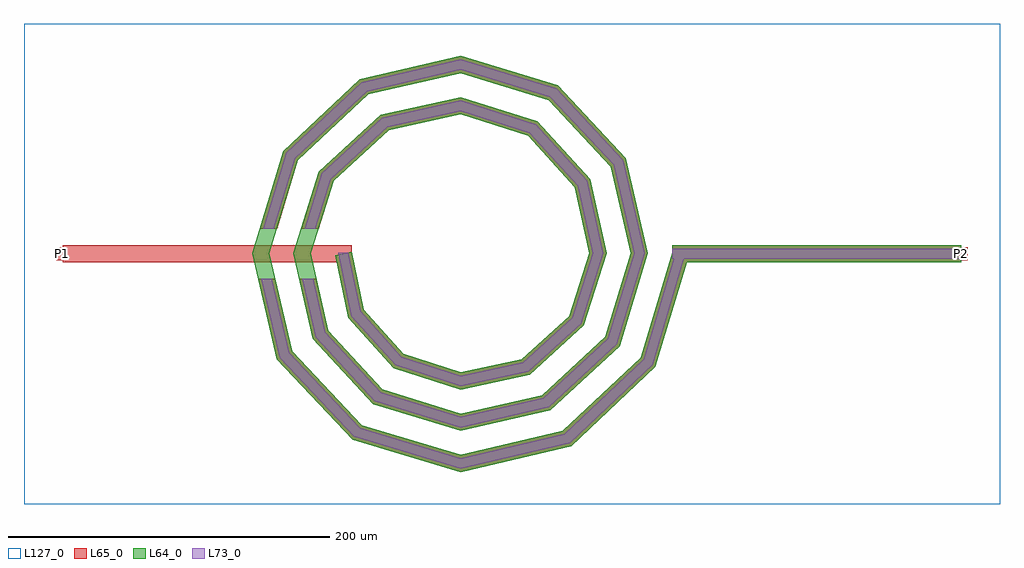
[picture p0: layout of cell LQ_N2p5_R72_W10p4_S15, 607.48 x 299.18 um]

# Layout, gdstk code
import gdstk
lib = gdstk.Library(unit=1e-6, precision=1e-09)
def R(c, l, rs):  # rectangles x0, y0, x1, y1
    for r in rs: c.add(gdstk.rectangle(r[:2], r[2:], *l))
def P(c, l, *ps):  # polygons
    for p in ps: c.add(gdstk.Polygon(p, *l))
L64_0 = (64, 0)
L65_0 = (65, 0)
L73_0 = (73, 0)
L127_0 = (127, 0)

lq_n2p5_r72_w10p4_s15 = lib.new_cell('LQ_N2p5_R72_W10p4_S15')
R(lq_n2p5_r72_w10p4_s15, L64_0, [(131.856,-5.2,311.856,5.2)])
P(lq_n2p5_r72_w10p4_s15, L64_0, [(-60.124,-35.044),(-35.625,-62.261),(0.271,-73.872),(38.235,-65.697),(67.812,-38.854),(80.294,0.251),(71.269,41.43),(42.081,73.364),(0.233,86.717),(-44.626,76.839),(-78.918,45.306),(-93.139,0.218),(-82.408,-47.825),(-48.529,-84.473),(0.205,-99.562),(51.025,-87.977),(90.029,-51.751),(105.984,0.193),(93.544,54.227),(54.972,95.586),(0.183,112.407),(-57.429,99.111),(-101.143,58.192),(-118.829,0.173),(-104.678,-60.632),(-61.411,-106.701),(0.165,-125.252),(63.837,-110.245),(112.259,-64.629),(132.075,1.493),(142.037,-1.493),(121.421,-70.286),(68.938,-119.727),(0.165,-136.015),(-67.082,-115.854),(-114.169,-65.719),(-129.591,0.173),(-110.287,63.878),(-62.499,108.611),(0.183,123.168),(60.675,104.72),(103.053,59.279),(116.745,0.193),(99.152,-57.472),(56.058,-97.496),(0.205,-110.322),(-54.271,-93.583),(-91.94,-52.835),(-103.898,0.218),(-88.013,51.072),(-49.611,86.384),(0.233,97.475),(47.874,82.442),(80.829,46.384),(91.051,0.251),(76.87,-44.678),(43.156,-75.276),(0.271,-84.627),(-41.484,-71.296),(-69.724,-39.924),(-77.915,-1.073),(-67.739,1.073)])
R(lq_n2p5_r72_w10p4_s15, L65_0, [(-247.627,-5.2,-67.627,5.2), (131.856,-5.2,311.856,5.2), (-251.627,-4,-243.627,4), (307.856,-4,315.856,4)])
P(lq_n2p5_r72_w10p4_s15, L65_0, [(-104.678,-60.633),(-61.411,-106.701),(0.165,-125.252),(63.837,-110.245),(112.259,-64.629),(132.075,1.493),(142.037,-1.493),(121.421,-70.286),(68.938,-119.727),(0.165,-136.015),(-67.082,-115.854),(-114.169,-65.719),(-125.9,-15.6),(-115.219,-15.6)],
  [(-82.408,-47.825),(-48.529,-84.473),(0.205,-99.562),(51.025,-87.977),(90.029,-51.751),(105.984,0.193),(93.544,54.227),(54.972,95.586),(0.183,112.407),(-57.429,99.112),(-101.143,58.192),(-114.05,15.6),(-124.917,15.6),(-110.287,63.878),(-62.499,108.611),(0.183,123.168),(60.675,104.72),(103.053,59.279),(116.745,0.193),(99.152,-57.472),(56.058,-97.496),(0.205,-110.322),(-54.271,-93.583),(-91.94,-52.835),(-100.333,-15.6),(-89.672,-15.6)],
  [(-35.625,-62.261),(0.271,-73.872),(38.235,-65.697),(67.812,-38.854),(80.294,0.251),(71.269,41.43),(42.081,73.364),(0.233,86.717),(-44.626,76.839),(-78.918,45.306),(-88.198,15.6),(-99.093,15.6),(-88.013,51.072),(-49.611,86.384),(0.233,97.475),(47.874,82.442),(80.829,46.384),(91.051,0.251),(76.87,-44.678),(43.156,-75.276),(0.271,-84.628),(-41.484,-71.296),(-69.724,-39.924),(-77.915,-1.073),(-67.739,1.073),(-60.124,-35.044)])
R(lq_n2p5_r72_w10p4_s15, L73_0, [(131.856,-3.2,311.856,3.2)])
P(lq_n2p5_r72_w10p4_s15, L73_0, [(-106.503,-61.611),(-62.501,-108.461),(0.101,-127.322),(64.818,-112.068),(114.021,-65.717),(133.991,0.919),(140.122,0.919),(119.659,-69.198),(67.957,-117.904),(0.101,-133.945),(-65.991,-114.094),(-112.344,-64.741),(-123.846,-15.6),(-117.273,-15.6)],
  [(-84.241,-48.788),(-49.634,-86.225),(0.126,-101.631),(51.993,-89.807),(91.784,-52.851),(108.054,0.119),(95.373,55.198),(56.069,97.342),(0.112,114.476),(-58.404,100.938),(-102.902,59.285),(-116.14,15.6),(-122.827,15.6),(-108.529,62.784),(-61.524,106.784),(0.112,121.099),(59.578,102.963),(101.225,58.307),(114.676,0.119),(97.397,-56.372),(55.09,-95.665),(0.126,-108.253),(-53.167,-91.831),(-90.107,-51.871),(-98.283,-15.6),(-91.722,-15.6)],
  [(-36.751,-63.998),(0.167,-75.941),(39.181,-67.539),(69.554,-39.974),(82.363,0.154),(73.107,42.382),(43.195,75.11),(0.144,88.786),(-45.585,78.674),(-80.667,46.415),(-90.293,15.6),(-96.998,15.6),(-86.264,49.963),(-48.652,84.548),(0.144,95.406),(46.76,80.696),(78.991,45.431),(88.983,0.154),(75.128,-43.558),(42.21,-73.434),(0.167,-82.559),(-40.358,-69.558),(-67.878,-38.986),(-75.958,0.66),(-69.696,0.66),(-61.97,-35.982)])
R(lq_n2p5_r72_w10p4_s15, L127_0, [(-271.627,-156.015,335.856,143.168)])
lq_n2p5_r72_w10p4_s15.add(gdstk.Label('P2', (311.856,0), layer=65, texttype=0))
lq_n2p5_r72_w10p4_s15.add(gdstk.Label('P1', (-247.627,0), layer=65, texttype=0))
lq_n2p5_r72_w10p4_s15.add(gdstk.Label('P2', (315.856,0), layer=145, texttype=0))
lq_n2p5_r72_w10p4_s15.add(gdstk.Label('P1', (-251.627,0), layer=145, texttype=0))

lib.write_gds('LQ_N2p5_R72_W10p4_S15.gds')
